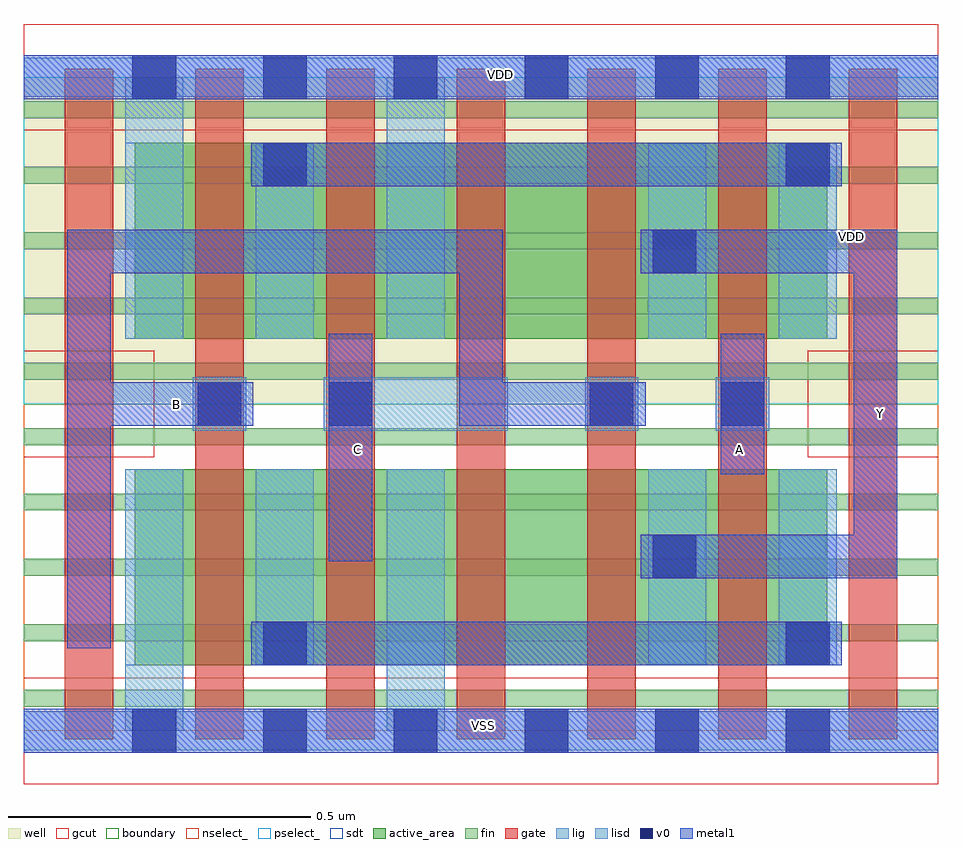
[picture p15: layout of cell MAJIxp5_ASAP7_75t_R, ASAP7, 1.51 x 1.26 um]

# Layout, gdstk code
import gdstk
lib = gdstk.Library(unit=1e-6, precision=1e-09)
def R(c, l, rs):  # rectangles x0, y0, x1, y1
    for r in rs: c.add(gdstk.rectangle(r[:2], r[2:], *l))
def A(c, l, x, y, w, h, nx, ny, dx, dy):  # array of equal rectangles
    R(c, l, [(x+i*dx, y+j*dy, x+i*dx+w, y+j*dy+h) for i in range(nx) for j in range(ny)])
def P(c, l, *ps):  # polygons
    for p in ps: c.add(gdstk.Polygon(p, *l))
well = (1, 0)
fin = (2, 0)
gate = (7, 0)
gcut = (10, 0)
active_area = (11, 0)
nselect_ = (12, 0)
pselect_ = (13, 0)
lig = (16, 0)
lisd = (17, 0)
v0 = (18, 0)
metal1 = (19, 0)
sdt = (88, 0)
boundary = (100, 0)

majixp5_asap7_75t_r = lib.new_cell('MAJIxp5_ASAP7_75t_R')
R(majixp5_asap7_75t_r, well, [(0,0.54,1.512,1.08)])
A(majixp5_asap7_75t_r, fin, 0, 0.04, 1.512, 0.028, 1, 10, 0, 0.108)
A(majixp5_asap7_75t_r, gate, 0.068, -0.014, 0.08, 1.108, 7, 1, 0.216, 0)
R(majixp5_asap7_75t_r, gcut, [(0,-0.088,1.512,0.088), (0,0.452,0.216,0.628), (1.296,0.452,1.512,0.628), (0,0.992,1.512,1.168)])
R(majixp5_asap7_75t_r, active_area, [(0.184,0.108,1.328,0.432), (0.184,0.648,1.328,0.972)])
R(majixp5_asap7_75t_r, nselect_, [(0,0,1.512,0.54)])
R(majixp5_asap7_75t_r, pselect_, [(0,0.54,1.512,1.08)])
R(majixp5_asap7_75t_r, lig, [(0,-0.032,1.512,0.032), (0.28,0.496,0.368,0.584), (0.496,0.496,0.8,0.584), (0.928,0.496,1.016,0.584), (1.144,0.496,1.232,0.584), (0,1.048,1.512,1.112)])
R(majixp5_asap7_75t_r, lisd, [(0.168,0,0.264,0.432), (0.6,0,0.696,0.432), (0.384,0.108,0.48,0.432), (1.032,0.108,1.128,0.432), (1.248,0.108,1.344,0.432), (0.168,0.648,0.264,1.08), (0.384,0.648,0.48,0.972), (0.6,0.648,0.696,1.08), (1.032,0.648,1.128,0.972), (1.248,0.648,1.344,0.972)])
A(majixp5_asap7_75t_r, v0, 0.18, -0.036, 0.072, 0.072, 6, 2, 0.216, 1.08)
R(majixp5_asap7_75t_r, v0, [(0.396,0.108,0.468,0.18), (1.26,0.108,1.332,0.18), (1.04,0.252,1.112,0.324), (0.288,0.504,0.36,0.576), (0.504,0.504,0.576,0.576), (0.936,0.504,1.008,0.576), (1.152,0.504,1.224,0.576), (1.04,0.756,1.112,0.828), (0.396,0.9,0.468,0.972), (1.26,0.9,1.332,0.972)])
R(majixp5_asap7_75t_r, metal1, [(0,-0.036,1.512,0.036), (0.376,0.108,1.352,0.18), (0.504,0.28,0.576,0.656), (1.152,0.424,1.224,0.656), (0.376,0.9,1.352,0.972), (0,1.044,1.512,1.116)])
P(majixp5_asap7_75t_r, metal1, [(1.02,0.252),(1.02,0.324),(1.372,0.324),(1.372,0.756),(1.02,0.756),(1.02,0.828),(1.444,0.828),(1.444,0.252)],
  [(0.072,0.136),(0.072,0.828),(0.792,0.828),(0.792,0.576),(1.028,0.576),(1.028,0.504),(0.72,0.504),(0.72,0.756),(0.144,0.756),(0.144,0.576),(0.38,0.576),(0.38,0.504),(0.144,0.504),(0.144,0.136)])
A(majixp5_asap7_75t_r, sdt, 0.168, 0.108, 0.096, 0.324, 3, 2, 0.216, 0.54)
R(majixp5_asap7_75t_r, sdt, [(1.032,0.108,1.128,0.432), (1.248,0.108,1.344,0.432), (1.032,0.648,1.128,0.972), (1.248,0.648,1.344,0.972)])
R(majixp5_asap7_75t_r, boundary, [(0,0,1.512,1.08)])
majixp5_asap7_75t_r.add(gdstk.Label('B', (0.252,0.54), layer=19, texttype=251))
majixp5_asap7_75t_r.add(gdstk.Label('C', (0.552,0.464), layer=19, texttype=251))
majixp5_asap7_75t_r.add(gdstk.Label('Y', (1.416,0.524), layer=19, texttype=251))
majixp5_asap7_75t_r.add(gdstk.Label('VSS', (0.76,0.008), layer=19, texttype=251))
majixp5_asap7_75t_r.add(gdstk.Label('A', (1.184,0.464), layer=19, texttype=251))
majixp5_asap7_75t_r.add(gdstk.Label('VDD', (0.788,1.084), layer=19, texttype=251))
majixp5_asap7_75t_r.add(gdstk.Label('VDD', (1.368,0.816), layer=1, texttype=251))
majixp5_asap7_75t_r.add(gdstk.Label('VSS', (1.644,0.812), layer=3, texttype=251))

lib.write_gds('MAJIxp5_ASAP7_75t_R.gds')
